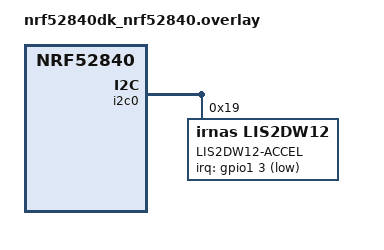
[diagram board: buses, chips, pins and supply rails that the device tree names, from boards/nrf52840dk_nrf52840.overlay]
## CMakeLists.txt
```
# SPDX-License-Identifier: Apache-2.0

cmake_minimum_required(VERSION 3.13.1)

find_package(Zephyr HINTS $ENV{ZEPHYR_BASE})
project(temperature_lis2dw12)

target_sources(app PRIVATE src/main.c)
```

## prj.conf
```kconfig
# Enable logging (it needs to be disabled for low power)
CONFIG_PRINTK=y
CONFIG_GPIO=y
CONFIG_SERIAL=y
CONFIG_CONSOLE=y
CONFIG_LOG=y
CONFIG_LOG_DEFAULT_LEVEL=4
CONFIG_LOG_BACKEND_UART=y

CONFIG_I2C=y
CONFIG_SENSOR=y
CONFIG_IRNAS_LIS2DW12=y
CONFIG_SENSOR_LOG_LEVEL_DBG=y
CONFIG_IRNAS_LIS2DW12_TRIGGER_GLOBAL_THREAD=y
CONFIG_IRNAS_LIS2DW12_MOTION_DETECTION=y

CONFIG_PINCTRL=y
CONFIG_ASSERT=y

# RTT config
CONFIG_UART_CONSOLE=n
CONFIG_RTT_CONSOLE=y
CONFIG_USE_SEGGER_RTT=y
```

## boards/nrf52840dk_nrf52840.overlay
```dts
/*
 * Copyright (c) 2019, Linaro Ltd.
 *
 * SPDX-License-Identifier: Apache-2.0
 */

&i2c0 {
	lis2dw12_accel: lis2dw12-accel@19 {
        compatible = "irnas,lis2dw12";
        label = "LIS2DW12-ACCEL";
        reg = <0x19>;
        irq-gpios=<&gpio1 3 GPIO_ACTIVE_LOW>;
        int-pin = <1>;
        range = <2>;
        power-mode = <0>;
        wu-threshold = <0x9>;
    };
};
```

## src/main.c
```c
/*
 * Copyright (c) 2020 Irnas d.o.o.
 *
 * SPDX-License-Identifier: Apache-2.0
 */

/* NOTE: Current settings are not optima, experiment for double tap... */

#include <string.h>

#include <zephyr/device.h>
#include <zephyr/devicetree.h>
#include <zephyr/drivers/gpio.h>
#include <zephyr/drivers/i2c.h>
#include <zephyr/drivers/sensor.h>
#include <zephyr/kernel.h>
#include <zephyr/logging/log.h>

#include "lis2dw12_reg.h"

LOG_MODULE_REGISTER(lis2_temperature_sample);

BUILD_ASSERT(DT_NODE_EXISTS(DT_NODELABEL(lis2dw12_accel)),
	     "lis2dw12 accelerometer is not defined in DT");

const struct device *lis2dw12_sensor = DEVICE_DT_GET(DT_NODELABEL(lis2dw12_accel));

/**
 * @brief Fetch and display the accelerometer data.
 *
 * @param sensor device structure (for the LIS2DW12 sensor).
 */
static void fetch_and_display(const struct device *sensor)
{
	struct sensor_value val;

	if (!sensor) {
		LOG_ERR("Failed to init LIS2DW12!");
		return;
	}

	int err = sensor_sample_fetch(sensor);
	if (err) {
		LOG_ERR("Failed to fetch data from the sensor, err: %d", err);
		return;
	}

	err = sensor_channel_get(sensor, SENSOR_CHAN_AMBIENT_TEMP, &val);
	if (err < 0) {
		LOG_ERR("Failed to get temperature data from the sensor, err: %d", err);
		return;
	}

	LOG_INF("Temperature: %d.%04d C", val.val1, val.val2);
}

void main(void)
{
	if (!lis2dw12_sensor) {
		LOG_ERR("Failed to init LIS2DW12!");
	} else {
		LOG_INF("Bind to LIS2DW12.");
	}

	if (!device_is_ready(lis2dw12_sensor)) {
		LOG_ERR("Device %s is not ready", lis2dw12_sensor->name);
	} else {
		LOG_INF("Device %s is ready", lis2dw12_sensor->name);
	}

	while (1) {
		k_msleep(1000);
		fetch_and_display(lis2dw12_sensor);
	}
}
```
